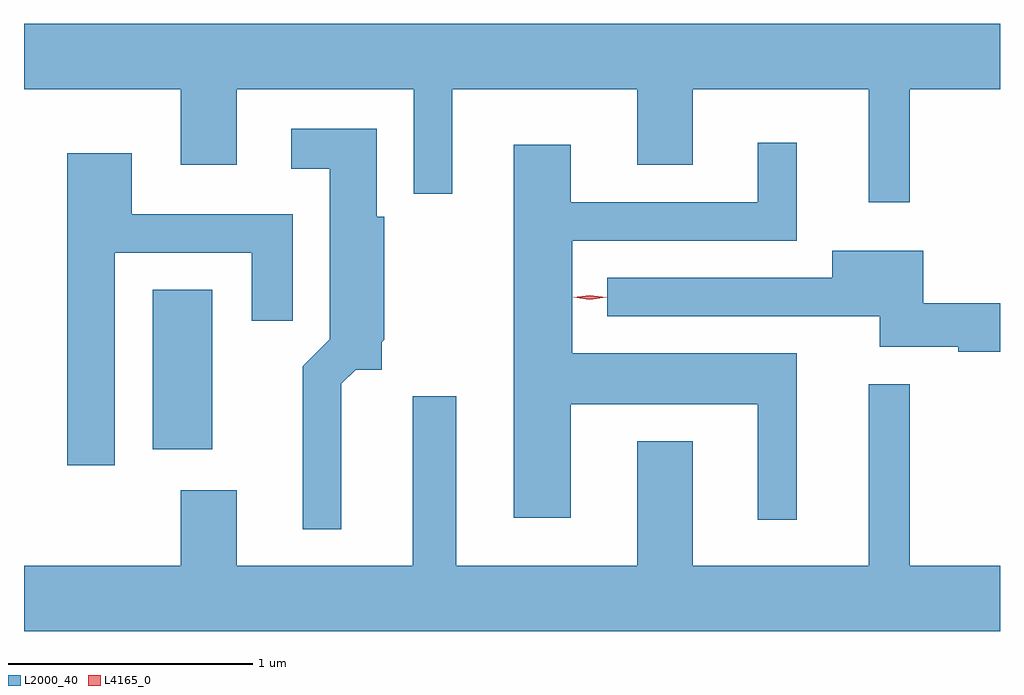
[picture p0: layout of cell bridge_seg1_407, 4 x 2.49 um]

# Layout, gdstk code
import gdstk
lib = gdstk.Library(unit=1e-6, precision=1e-09)
def R(c, l, rs):  # rectangles x0, y0, x1, y1
    for r in rs: c.add(gdstk.rectangle(r[:2], r[2:], *l))
def P(c, l, *ps):  # polygons
    for p in ps: c.add(gdstk.Polygon(p, *l))
L2000_40 = (2000, 40)
L4165_0 = (4165, 0)

bridge_seg1_407 = lib.new_cell('bridge_seg1_407')
R(bridge_seg1_407, L2000_40, [(390.676,924.741,390.919,925.394)])
P(bridge_seg1_407, L2000_40, [(393.779,926.216),(394.148,926.216),(394.148,926.484),(390.148,926.484),(390.148,926.216),(390.791,926.216),(390.791,925.906),(391.019,925.906),(391.019,926.216),(391.746,926.216),(391.746,925.788),(391.904,925.788),(391.904,926.216),(392.661,926.216),(392.661,925.906),(392.889,925.906),(392.889,926.216),(393.611,926.216),(393.611,925.753),(393.779,925.753)],
  [(391.449,925.009),(391.507,925.066),(391.614,925.066),(391.614,925.179),(391.624,925.189),(391.624,925.694),(391.594,925.694),(391.594,926.054),(391.243,926.054),(391.243,925.891),(391.401,925.891),(391.401,925.192),(391.291,925.082),(391.291,924.413),(391.449,924.413)],
  [(393.314,925.134),(392.394,925.134),(392.394,925.596),(393.314,925.596),(393.314,925.998),(393.156,925.998),(393.156,925.754),(392.389,925.754),(392.389,925.989),(392.156,925.989),(392.156,924.461),(392.389,924.461),(392.389,924.926),(393.156,924.926),(393.156,924.453),(393.314,924.453)],
  [(390.519,925.546),(391.081,925.546),(391.081,925.268),(391.249,925.268),(391.249,925.704),(390.589,925.704),(390.589,925.954),(390.326,925.954),(390.326,924.676),(390.519,924.676)],
  [(394.148,925.339),(393.834,925.339),(393.834,925.554),(393.461,925.554),(393.461,925.444),(392.538,925.444),(392.538,925.286),(393.656,925.286),(393.656,925.161),(393.976,925.161),(393.976,925.141),(394.148,925.141)],
  [(394.148,924.264),(393.779,924.264),(393.779,925.008),(393.611,925.008),(393.611,924.264),(392.889,924.264),(392.889,924.774),(392.661,924.774),(392.661,924.264),(391.919,924.264),(391.919,924.959),(391.741,924.959),(391.741,924.264),(391.019,924.264),(391.019,924.574),(390.791,924.574),(390.791,924.264),(390.148,924.264),(390.148,923.996),(394.148,923.996)])
P(bridge_seg1_407, L4165_0, [(392.466,925.353),(392.4,925.363),(392.4,925.363),(392.4,925.364),(392.466,925.373),(392.532,925.364),(392.533,925.363),(392.532,925.363)],
  [(392.467,925.353),(392.398,925.363),(392.397,925.363),(392.398,925.364),(392.467,925.373),(392.536,925.364),(392.536,925.363),(392.536,925.363)])

lib.write_gds('bridge_seg1_407.gds')
